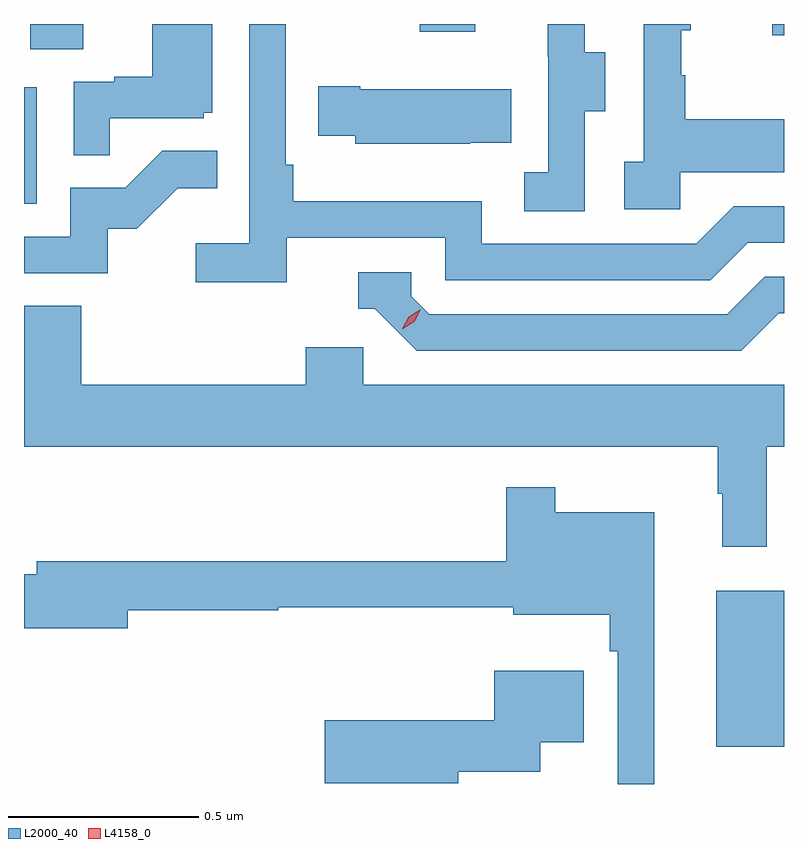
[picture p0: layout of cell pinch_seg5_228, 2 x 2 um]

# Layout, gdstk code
import gdstk
lib = gdstk.Library(unit=1e-6, precision=1e-09)
def R(c, l, rs):  # rectangles x0, y0, x1, y1
    for r in rs: c.add(gdstk.rectangle(r[:2], r[2:], *l))
def P(c, l, *ps):  # polygons
    for p in ps: c.add(gdstk.Polygon(p, *l))
L2000_40 = (2000, 40)
L4158_0 = (4158, 0)

pinch_seg5_228 = lib.new_cell('pinch_seg5_228')
R(pinch_seg5_228, L2000_40, [(966.251,907.919,966.429,908.329), (964.429,909.348,964.462,909.655), (964.445,909.754,964.585,909.821), (966.398,909.792,966.429,909.821), (965.47,909.801,965.617,909.821)])
P(pinch_seg5_228, L2000_40, [(965.904,909.592),(965.959,909.592),(965.959,909.747),(965.905,909.747),(965.905,909.821),(965.807,909.821),(965.807,909.735),(965.808,909.735),(965.808,909.431),(965.745,909.431),(965.745,909.328),(965.904,909.328)],
  [(966.156,909.431),(966.429,909.431),(966.429,909.571),(966.169,909.571),(966.169,909.686),(966.159,909.686),(966.159,909.804),(966.184,909.804),(966.184,909.821),(966.06,909.821),(966.06,909.458),(966.009,909.458),(966.009,909.333),(966.156,909.333)],
  [(964.655,909.573),(964.902,909.573),(964.902,909.588),(964.924,909.588),(964.924,909.821),(964.766,909.821),(964.766,909.682),(964.667,909.682),(964.667,909.669),(964.56,909.669),(964.56,909.475),(964.655,909.475)],
  [(965.12,909.258),(965.538,909.258),(965.538,909.147),(966.235,909.147),(966.334,909.246),(966.429,909.246),(966.429,909.342),(966.297,909.342),(966.198,909.243),(965.634,909.243),(965.634,909.355),(965.138,909.355),(965.138,909.451),(965.118,909.451),(965.118,909.821),(965.022,909.821),(965.022,909.244),(964.881,909.244),(964.881,909.142),(965.12,909.142)],
  [(965.603,909.509),(965.711,909.509),(965.711,909.649),(965.314,909.649),(965.314,909.657),(965.203,909.657),(965.203,909.527),(965.301,909.527),(965.301,909.506),(965.603,909.506)],
  [(964.65,909.282),(964.726,909.282),(964.833,909.389),(964.937,909.389),(964.937,909.488),(964.793,909.488),(964.695,909.39),(964.551,909.39),(964.551,909.261),(964.429,909.261),(964.429,909.165),(964.65,909.165)],
  [(966.415,909.06),(966.429,909.06),(966.429,909.156),(966.378,909.156),(966.279,909.057),(965.496,909.057),(965.448,909.105),(965.448,909.168),(965.309,909.168),(965.309,909.072),(965.352,909.072),(965.463,908.961),(966.316,908.961)],
  [(966.383,908.708),(966.429,908.708),(966.429,908.872),(965.322,908.872),(965.322,908.97),(965.171,908.97),(965.171,908.872),(964.58,908.872),(964.58,909.08),(964.429,909.08),(964.429,908.708),(966.255,908.708),(966.255,908.585),(966.266,908.585),(966.266,908.445),(966.383,908.445)],
  [(966.088,908.536),(965.827,908.536),(965.827,908.602),(965.698,908.602),(965.698,908.407),(964.463,908.407),(964.463,908.373),(964.429,908.373),(964.429,908.231),(964.702,908.231),(964.702,908.278),(965.098,908.278),(965.098,908.286),(965.717,908.286),(965.717,908.267),(965.971,908.267),(965.971,908.171),(965.991,908.171),(965.991,907.821),(966.088,907.821)],
  [(965.572,907.853),(965.788,907.853),(965.788,907.931),(965.902,907.931),(965.902,908.119),(965.666,908.119),(965.666,907.989),(965.22,907.989),(965.22,907.823),(965.572,907.823)])
P(pinch_seg5_228, L4158_0, [(965.425,909.018),(965.425,909.019),(965.442,909.051),(965.473,909.07),(965.473,909.07),(965.473,909.07),(965.456,909.038),(965.425,909.018)])

lib.write_gds('pinch_seg5_228.gds')
